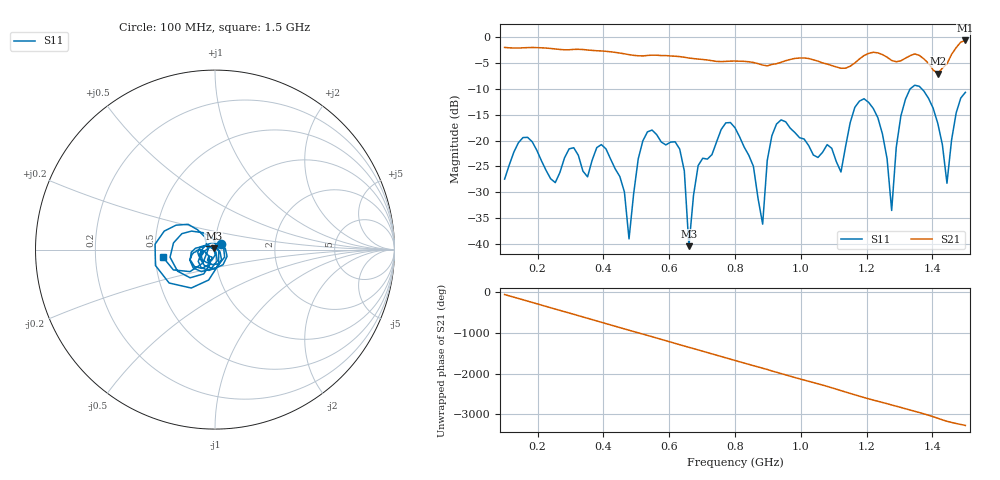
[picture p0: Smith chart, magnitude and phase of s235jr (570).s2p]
! NanoVNA-App
! Date: 2025-09-25 15:08:36
! Start: 100MHz Stop: 1,5GHz Points: 101
! S-Parameter data: F S11 S21 S12 S22
# Hz S RI R 50
!  Frequency  S11_Real  S11_Imag  S21_Real  S21_Imag  S12_Real  S12_Imag  S22_Real  S22_Imag
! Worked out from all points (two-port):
!   101 points, 100 MHz to 1.5 GHz, reference 50 ohm
!   highest |S21| = -0.61 dB at 1.5 GHz (marker M1); lowest = -7.0 dB at 1.416 GHz (marker M2)
!   |S21| within 3 dB of the highest: start of sweep to 603.1 MHz; 1.19 GHz to 1.255 GHz (64.95 MHz wide, 5.31 % of centre)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
!   lowest |S11| = -40.5 dB at 660 MHz (marker M3), VSWR 1.02, Z = 49.3 + j0.614 ohm
!   |S11| at or under -10 dB: start of sweep to 1.332 GHz; 1.368 GHz to end of sweep
!   S12 and S22 are empty: the file has one direction only
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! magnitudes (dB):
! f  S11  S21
! 100 MHz  -27.5  -2.0
! 156 MHz  -19.4  -2.0
! 338 MHz  -25.9  -2.4
! 408 MHz  -21.6  -2.7
! 478 MHz  -39.0  -3.4
! 520 MHz  -20.1  -3.6
! 576 MHz  -20.3  -3.5
! 632 MHz  -21.7  -3.7
! 660 MHz  -40.5  -4.0
! 688 MHz  -24.9  -4.2
! 800 MHz  -17.5  -4.6
! 884 MHz  -36.2  -5.4
! 926 MHz  -16.8  -5.1
! 1.038 GHz  -22.8  -4.4
! 1.122 GHz  -26.1  -6.0
! 1.192 GHz  -11.9  -3.5
! 1.248 GHz  -18.7  -3.3
! 1.276 GHz  -33.5  -4.5
! 1.332 GHz  -10.0  -3.6
! 1.416 GHz  -16.6  -7.0
! 1.444 GHz  -28.3  -5.1
! 1.5 GHz  -10.7  -0.6
